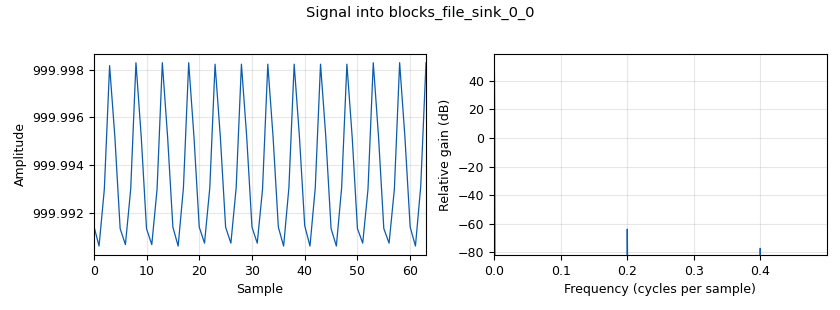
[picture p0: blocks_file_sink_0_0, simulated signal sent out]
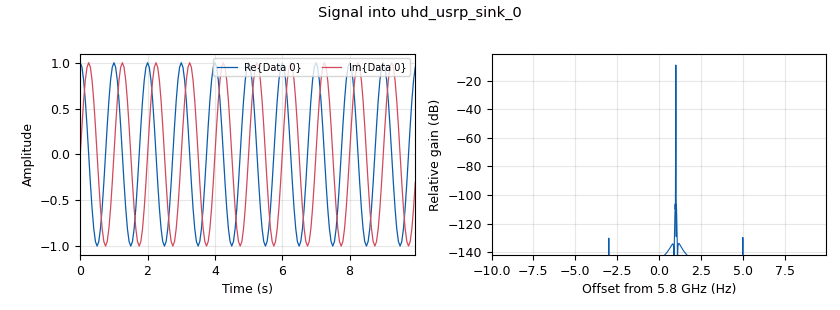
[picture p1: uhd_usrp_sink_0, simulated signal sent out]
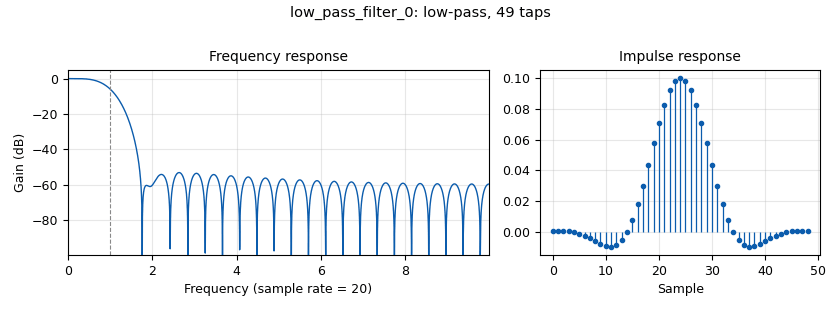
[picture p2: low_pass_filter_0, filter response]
<?xml version='1.0' encoding='utf-8'?>
<?grc format='1' created='3.7.9'?>
<flow_graph>
<block>
<key>options</key>
<param><key>id</key><value>Power</value></param>
<param><key>category</key><value>Custom</value></param>
<param><key>generate_options</key><value>wx_gui</value></param>
</block>
<block>
<key>variable_check_box</key>
<param><key>id</key><value>MuteTx</value></param>
<param><key>value</key><value>False</value></param>
<param><key>false</key><value>False</value></param>
<param><key>label</key><value></value></param>
<param><key>true</key><value>True</value></param>
</block>
<block>
<key>variable</key>
<param><key>id</key><value>freq</value></param>
<param><key>value</key><value>5.8e09</value></param>
</block>
<block>
<key>variable</key>
<param><key>id</key><value>mean_length</value></param>
<param><key>value</key><value>1</value></param>
</block>
<block>
<key>variable</key>
<param><key>id</key><value>samp_rate</value></param>
<param><key>value</key><value>20</value></param>
</block>
<block>
<key>variable</key>
<param><key>id</key><value>vect_len</value></param>
<param><key>value</key><value>1024</value></param>
</block>
<block>
<key>blocks_mute_xx</key>
<param><key>id</key><value>Mute</value></param>
<param><key>type</key><value>complex</value></param>
<param><key>mute</key><value>MuteTx</value></param>
</block>
<block>
<key>analog_sig_source_x</key>
<param><key>id</key><value>analog_sig_source_x_0</value></param>
<param><key>amp</key><value>1</value></param>
<param><key>freq</key><value>mean_length</value></param>
<param><key>offset</key><value>0</value></param>
<param><key>type</key><value>complex</value></param>
<param><key>samp_rate</key><value>samp_rate</value></param>
<param><key>waveform</key><value>analog.GR_SIN_WAVE</value></param>
</block>
<block>
<key>blocks_complex_to_mag</key>
<param><key>id</key><value>blocks_complex_to_mag_1</value></param>
</block>
<block>
<key>blocks_complex_to_mag_squared</key>
<param><key>id</key><value>blocks_complex_to_mag_squared_0</value></param>
</block>
<block>
<key>blocks_file_sink</key>
<param><key>id</key><value>blocks_file_sink_0</value></param>
<param><key>file</key><value>/home/moez/Desktop/gnu_binary_data/wRx_A_1</value></param>
<param><key>type</key><value>float</value></param>
<param><key>vlen</key><value>vect_len</value></param>
</block>
<block>
<key>blocks_file_sink</key>
<param><key>id</key><value>blocks_file_sink_0_0</value></param>
<param><key>file</key><value>/home/moez/Desktop/gnu_binary_data/wTx_A_1</value></param>
<param><key>type</key><value>float</value></param>
<param><key>vlen</key><value>vect_len</value></param>
</block>
<block>
<key>blocks_multiply_const_vxx</key>
<param><key>id</key><value>blocks_multiply_const_vxx_1</value></param>
<param><key>const</key><value>1000</value></param>
<param><key>type</key><value>float</value></param>
</block>
<block>
<key>blocks_multiply_const_vxx</key>
<param><key>id</key><value>blocks_multiply_const_vxx_2</value></param>
<param><key>const</key><value>1000</value></param>
<param><key>type</key><value>float</value></param>
</block>
<block>
<key>blocks_stream_to_vector</key>
<param><key>id</key><value>blocks_stream_to_vector_0</value></param>
<param><key>type</key><value>float</value></param>
<param><key>num_items</key><value>vect_len</value></param>
</block>
<block>
<key>blocks_stream_to_vector</key>
<param><key>id</key><value>blocks_stream_to_vector_0_0</value></param>
<param><key>type</key><value>float</value></param>
<param><key>num_items</key><value>vect_len</value></param>
</block>
<block>
<key>low_pass_filter</key>
<param><key>id</key><value>low_pass_filter_0</value></param>
<param><key>cutoff_freq</key><value>mean_length</value></param>
<param><key>decim</key><value>1</value></param>
<param><key>type</key><value>fir_filter_ccf</value></param>
<param><key>gain</key><value>1</value></param>
<param><key>samp_rate</key><value>samp_rate</value></param>
<param><key>width</key><value>1</value></param>
<param><key>win</key><value>firdes.WIN_HAMMING</value></param>
</block>
<block>
<key>uhd_usrp_sink</key>
<param><key>id</key><value>uhd_usrp_sink_0</value></param>
<param><key>ant0</key><value>TX/RX</value></param>
<param><key>center_freq0</key><value>freq</value></param>
<param><key>norm_gain0</key><value>False</value></param>
<param><key>gain0</key><value>56</value></param>
<param><key>clock_rate</key><value>0.0</value></param>
<param><key>dev_args</key><value>""</value></param>
<param><key>type</key><value>fc32</value></param>
<param><key>sd_spec0</key><value>A:A</value></param>
<param><key>samp_rate</key><value>samp_rate</value></param>
<param><key>hide_cmd_port</key><value>False</value></param>
<param><key>sync</key><value></value></param>
<param><key>len_tag_name</key><value></value></param>
</block>
<block>
<key>uhd_usrp_source</key>
<param><key>id</key><value>uhd_usrp_source_0</value></param>
<param><key>ant0</key><value>RX2</value></param>
<param><key>center_freq0</key><value>freq</value></param>
<param><key>dc_offs_enb0</key><value>""</value></param>
<param><key>iq_imbal_enb0</key><value>""</value></param>
<param><key>norm_gain0</key><value>False</value></param>
<param><key>gain0</key><value>56</value></param>
<param><key>clock_rate</key><value>0.0</value></param>
<param><key>dev_args</key><value>""</value></param>
<param><key>sd_spec0</key><value>A:B</value></param>
<param><key>type</key><value>fc32</value></param>
<param><key>samp_rate</key><value>samp_rate</value></param>
<param><key>hide_cmd_port</key><value>False</value></param>
<param><key>sync</key><value></value></param>
</block>
<block>
<key>wxgui_numbersink2</key>
<param><key>id</key><value>wxgui_numbersink2_1</value></param>
<param><key>avg_alpha</key><value>1</value></param>
<param><key>average</key><value>True</value></param>
<param><key>decimal_places</key><value>2</value></param>
<param><key>factor</key><value>1.0</value></param>
<param><key>max_value</key><value>100</value></param>
<param><key>min_value</key><value>-100</value></param>
<param><key>number_rate</key><value>1</value></param>
<param><key>peak_hold</key><value>False</value></param>
<param><key>ref_level</key><value>0</value></param>
<param><key>samp_rate</key><value>samp_rate</value></param>
<param><key>show_gauge</key><value>True</value></param>
<param><key>title</key><value>Average received power (mW)</value></param>
<param><key>type</key><value>float</value></param>
<param><key>units</key><value>mW</value></param>
</block>
<block>
<key>wxgui_scopesink2</key>
<param><key>id</key><value>wxgui_scopesink2_0</value></param>
<param><key>ac_couple</key><value>False</value></param>
<param><key>_enabled</key><value>0</value></param>
<param><key>num_inputs</key><value>1</value></param>
<param><key>samp_rate</key><value>samp_rate</value></param>
<param><key>t_scale</key><value>0</value></param>
<param><key>title</key><value>RxScope Plot</value></param>
<param><key>trig_mode</key><value>wxgui.TRIG_MODE_AUTO</value></param>
<param><key>type</key><value>complex</value></param>
<param><key>v_offset</key><value>0</value></param>
<param><key>v_scale</key><value>0</value></param>
<param><key>xy_mode</key><value>False</value></param>
<param><key>y_axis_label</key><value>Counts</value></param>
</block>
<block>
<key>wxgui_scopesink2</key>
<param><key>id</key><value>wxgui_scopesink2_0_0</value></param>
<param><key>ac_couple</key><value>False</value></param>
<param><key>_enabled</key><value>0</value></param>
<param><key>num_inputs</key><value>1</value></param>
<param><key>samp_rate</key><value>samp_rate</value></param>
<param><key>t_scale</key><value>0</value></param>
<param><key>title</key><value>TxScope Plot</value></param>
<param><key>trig_mode</key><value>wxgui.TRIG_MODE_AUTO</value></param>
<param><key>type</key><value>complex</value></param>
<param><key>v_offset</key><value>0</value></param>
<param><key>v_scale</key><value>0</value></param>
<param><key>xy_mode</key><value>False</value></param>
<param><key>y_axis_label</key><value>Counts</value></param>
</block>
<block>
<key>wxgui_scopesink2</key>
<param><key>id</key><value>wxgui_scopesink2_1</value></param>
<param><key>ac_couple</key><value>False</value></param>
<param><key>num_inputs</key><value>1</value></param>
<param><key>samp_rate</key><value>samp_rate</value></param>
<param><key>t_scale</key><value>0</value></param>
<param><key>title</key><value>Scope Plot</value></param>
<param><key>trig_mode</key><value>wxgui.TRIG_MODE_AUTO</value></param>
<param><key>type</key><value>float</value></param>
<param><key>v_offset</key><value>0</value></param>
<param><key>v_scale</key><value>0</value></param>
<param><key>xy_mode</key><value>False</value></param>
<param><key>y_axis_label</key><value>Counts</value></param>
</block>
<connection><source_block_id>Mute</source_block_id><sink_block_id>blocks_complex_to_mag_squared_0</sink_block_id><source_key>0</source_key><sink_key>0</sink_key></connection>
<connection><source_block_id>Mute</source_block_id><sink_block_id>uhd_usrp_sink_0</sink_block_id><source_key>0</source_key><sink_key>0</sink_key></connection>
<connection><source_block_id>Mute</source_block_id><sink_block_id>wxgui_scopesink2_0_0</sink_block_id><source_key>0</source_key><sink_key>0</sink_key></connection>
<connection><source_block_id>analog_sig_source_x_0</source_block_id><sink_block_id>Mute</sink_block_id><source_key>0</source_key><sink_key>0</sink_key></connection>
<connection><source_block_id>blocks_complex_to_mag_1</source_block_id><sink_block_id>blocks_multiply_const_vxx_1</sink_block_id><source_key>0</source_key><sink_key>0</sink_key></connection>
<connection><source_block_id>blocks_complex_to_mag_1</source_block_id><sink_block_id>wxgui_scopesink2_1</sink_block_id><source_key>0</source_key><sink_key>0</sink_key></connection>
<connection><source_block_id>blocks_complex_to_mag_squared_0</source_block_id><sink_block_id>blocks_multiply_const_vxx_2</sink_block_id><source_key>0</source_key><sink_key>0</sink_key></connection>
<connection><source_block_id>blocks_multiply_const_vxx_1</source_block_id><sink_block_id>blocks_stream_to_vector_0</sink_block_id><source_key>0</source_key><sink_key>0</sink_key></connection>
<connection><source_block_id>blocks_multiply_const_vxx_1</source_block_id><sink_block_id>wxgui_numbersink2_1</sink_block_id><source_key>0</source_key><sink_key>0</sink_key></connection>
<connection><source_block_id>blocks_multiply_const_vxx_2</source_block_id><sink_block_id>blocks_stream_to_vector_0_0</sink_block_id><source_key>0</source_key><sink_key>0</sink_key></connection>
<connection><source_block_id>blocks_stream_to_vector_0</source_block_id><sink_block_id>blocks_file_sink_0</sink_block_id><source_key>0</source_key><sink_key>0</sink_key></connection>
<connection><source_block_id>blocks_stream_to_vector_0_0</source_block_id><sink_block_id>blocks_file_sink_0_0</sink_block_id><source_key>0</source_key><sink_key>0</sink_key></connection>
<connection><source_block_id>low_pass_filter_0</source_block_id><sink_block_id>blocks_complex_to_mag_1</sink_block_id><source_key>0</source_key><sink_key>0</sink_key></connection>
<connection><source_block_id>low_pass_filter_0</source_block_id><sink_block_id>wxgui_scopesink2_0</sink_block_id><source_key>0</source_key><sink_key>0</sink_key></connection>
<connection><source_block_id>uhd_usrp_source_0</source_block_id><sink_block_id>low_pass_filter_0</sink_block_id><source_key>0</source_key><sink_key>0</sink_key></connection>
</flow_graph>
